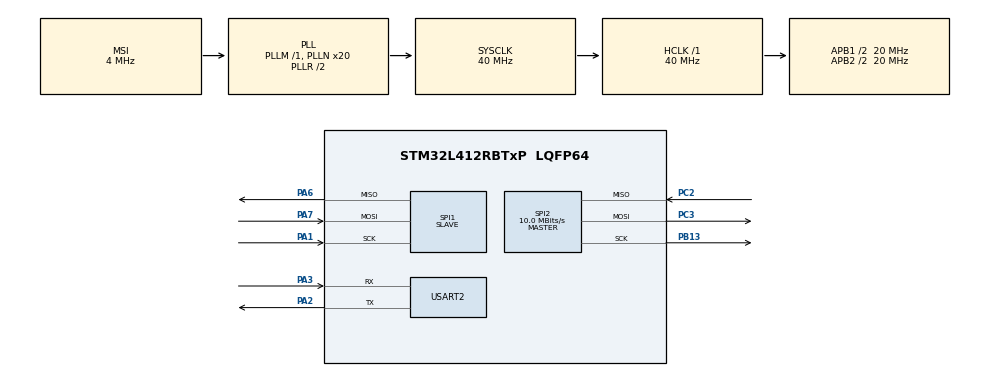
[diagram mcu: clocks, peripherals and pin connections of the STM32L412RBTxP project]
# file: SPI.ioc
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Mcu.Family=STM32L4
Mcu.Name=STM32L412RBTxP
Mcu.Package=LQFP64
NVIC.PriorityGroup=NVIC_PRIORITYGROUP_4
PA1.Mode=Full_Duplex_Slave
PA1.Signal=SPI1_SCK
PA2.Mode=Asynchronous
PA2.Signal=USART2_TX
PA3.Mode=Asynchronous
PA3.Signal=USART2_RX
PA6.Mode=Full_Duplex_Slave
PA6.Signal=SPI1_MISO
PA7.Mode=Full_Duplex_Slave
PA7.Signal=SPI1_MOSI
PB13.Mode=Full_Duplex_Master
PB13.Signal=SPI2_SCK
PC2.Mode=Full_Duplex_Master
PC2.Signal=SPI2_MISO
PC3.Mode=Full_Duplex_Master
PC3.Signal=SPI2_MOSI
ProjectManager.HeapSize=0x200
ProjectManager.StackSize=0x400
ProjectManager.TargetToolchain=STM32CubeIDE
RCC.ADCFreq_Value=40000000
RCC.AHBFreq_Value=40000000
RCC.APB1CLKDivider=RCC_HCLK_DIV2
RCC.APB1Freq_Value=20000000
RCC.APB1TimFreq_Value=40000000
RCC.APB2CLKDivider=RCC_HCLK_DIV2
RCC.APB2Freq_Value=20000000
RCC.APB2TimFreq_Value=40000000
RCC.CortexFreq_Value=40000000
RCC.HCLKFreq_Value=40000000
RCC.HSE_VALUE=8000000
RCC.HSI48_VALUE=48000000
RCC.HSI_VALUE=16000000
RCC.LSE_VALUE=32768
RCC.MSI_VALUE=4000000
RCC.PLLN=20
RCC.SYSCLKFreq_VALUE=40000000
RCC.SYSCLKSource=RCC_SYSCLKSOURCE_PLLCLK
RCC.USBFreq_Value=4000000
RCC.VCOOutputFreq_Value=80000000
SPI1.CLKPhase=SPI_PHASE_1EDGE
SPI1.DataSize=SPI_DATASIZE_8BIT
SPI1.Direction=SPI_DIRECTION_2LINES
SPI1.Mode=SPI_MODE_SLAVE
SPI1.VirtualType=VM_SLAVE
SPI2.BaudRatePrescaler=SPI_BAUDRATEPRESCALER_2
SPI2.CLKPhase=SPI_PHASE_1EDGE
SPI2.CalculateBaudRate=10.0 MBits/s
SPI2.DataSize=SPI_DATASIZE_8BIT
SPI2.Direction=SPI_DIRECTION_2LINES
SPI2.Mode=SPI_MODE_MASTER
SPI2.VirtualType=VM_MASTER
USART2.VirtualMode-Asynchronous=VM_ASYNC
board=custom

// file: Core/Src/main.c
/* USER CODE BEGIN Header */
/**
  ******************************************************************************
  * @file           : main.c
  * @brief          : Main program body
  ******************************************************************************
  * @attention
  *
  * <h2><center>&copy; Copyright (c) 2021 STMicroelectronics.
  * All rights reserved.</center></h2>
  *
  * This software component is licensed by ST under BSD 3-Clause license,
  * the "License"; You may not use this file except in compliance with the
  * License. You may obtain a copy of the License at:
  *                        opensource.org/licenses/BSD-3-Clause
  *
  ******************************************************************************
  */
/* USER CODE END Header */
#include "main.h"
#include "spi.h"
#include "usart.h"
#include "gpio.h"

/* USER CODE BEGIN Includes */
#include <stdio.h>

/* USER CODE END Includes */

/* USER CODE BEGIN PD */
#ifdef __GNUC__
    #define PUTCHAR_PROTOTYPE int __io_putchar(int ch)
#else
    #define PUTCHAR_PROTOTYPE int fputc(int ch, FILE *f)
#endif

PUTCHAR_PROTOTYPE
{
  HAL_UART_Transmit(&huart2, (uint8_t *)&ch, 1, 0xFFFF);
  return ch;
}
/* USER CODE END PD */

void SystemClock_Config(void);

int main(void)
{

  /* MCU Configuration--------------------------------------------------------*/

  /* Reset of all peripherals, Initializes the Flash interface and the Systick. */
  HAL_Init();

  /* Configure the system clock */
  SystemClock_Config();

  /* Initialize all configured peripherals */
  MX_GPIO_Init();
  MX_SPI2_Init();
  MX_USART2_UART_Init();
  MX_SPI1_Init();

  /* Infinite loop */
  /* USER CODE BEGIN WHILE */
  printf("new~ \r\n");
#if 0
  uint8_t Hi[] = "start\r\n";
  uint8_t * hi;
  hi = Hi;
  for (int j=0; j <sizeof(Hi)/sizeof(uint8_t); j++)
  {
    HAL_UART_Transmit(&huart2, hi, 1, 100);
    hi++;
  }
  while (1)
  {
    HAL_Delay(1000);

    uint8_t tx_buffer[] = { 'H', 'e', 'l', 'l', 'o', '\r', '\n' };
    uint8_t rx_buffer;
    for (int i = 0; i < sizeof(tx_buffer); i++) {
      HAL_SPI_TransmitReceive(&hspi2, tx_buffer + i, &rx_buffer, 1, 100);
      HAL_UART_Transmit(&huart2, &rx_buffer, 1, 100);
    }
#else

  uint8_t tx_buf[10] = {1,2,3,4,5,6,7,8,9,10};
  uint8_t rx_buf[10] = {0,0,0,0,0,0,0,0,0,0};
//  uint8_t rx_buf;

  while (1)
  {
    HAL_Delay(1000);

    for (int i=0; i<10;i++)
    {
      if (HAL_SPI_Receive(&hspi1, &rx_buf[i], 1, 100)==HAL_OK)
      {
        printf("Receive : %d ", rx_buf[i]);
      }
      if (HAL_SPI_Transmit(&hspi2, &tx_buf[i], 1, 100)==HAL_OK)
      {
        printf("Trans : %d ", tx_buf[i]);
      }
      printf("\r\n");
    }
//    for (int i=0; i<10;i++)
//    {
////      HAL_UART_Transmit(&huart2, &rx_buf[i], 1, 100);
//      printf("%d ", &rx_buf[i]);
//    }
    printf("\r\n");
#endif
    /* USER CODE END WHILE */

  }
}

void SystemClock_Config(void)
{
  RCC_OscInitTypeDef RCC_OscInitStruct = {0};
  RCC_ClkInitTypeDef RCC_ClkInitStruct = {0};
  RCC_PeriphCLKInitTypeDef PeriphClkInit = {0};

  /** Configure the main internal regulator output voltage
  */
  if (HAL_PWREx_ControlVoltageScaling(PWR_REGULATOR_VOLTAGE_SCALE1) != HAL_OK)
  {
    Error_Handler();
  }
  /** Initializes the RCC Oscillators according to the specified parameters
  * in the RCC_OscInitTypeDef structure.
  */
  RCC_OscInitStruct.OscillatorType = RCC_OSCILLATORTYPE_MSI;
  RCC_OscInitStruct.MSIState = RCC_MSI_ON;
  RCC_OscInitStruct.MSICalibrationValue = 0;
  RCC_OscInitStruct.MSIClockRange = RCC_MSIRANGE_6;
  RCC_OscInitStruct.PLL.PLLState = RCC_PLL_ON;
  RCC_OscInitStruct.PLL.PLLSource = RCC_PLLSOURCE_MSI;
  RCC_OscInitStruct.PLL.PLLM = 1;
  RCC_OscInitStruct.PLL.PLLN = 20;
  RCC_OscInitStruct.PLL.PLLQ = RCC_PLLQ_DIV2;
  RCC_OscInitStruct.PLL.PLLR = RCC_PLLR_DIV2;
  if (HAL_RCC_OscConfig(&RCC_OscInitStruct) != HAL_OK)
  {
    Error_Handler();
  }
  /** Initializes the CPU, AHB and APB buses clocks
  */
  RCC_ClkInitStruct.ClockType = RCC_CLOCKTYPE_HCLK|RCC_CLOCKTYPE_SYSCLK
                              |RCC_CLOCKTYPE_PCLK1|RCC_CLOCKTYPE_PCLK2;
  RCC_ClkInitStruct.SYSCLKSource = RCC_SYSCLKSOURCE_PLLCLK;
  RCC_ClkInitStruct.AHBCLKDivider = RCC_SYSCLK_DIV1;
  RCC_ClkInitStruct.APB1CLKDivider = RCC_HCLK_DIV2;
  RCC_ClkInitStruct.APB2CLKDivider = RCC_HCLK_DIV2;

  if (HAL_RCC_ClockConfig(&RCC_ClkInitStruct, FLASH_LATENCY_2) != HAL_OK)
  {
    Error_Handler();
  }
  PeriphClkInit.PeriphClockSelection = RCC_PERIPHCLK_USART2;
  PeriphClkInit.Usart2ClockSelection = RCC_USART2CLKSOURCE_PCLK1;
  if (HAL_RCCEx_PeriphCLKConfig(&PeriphClkInit) != HAL_OK)
  {
    Error_Handler();
  }
}

void Error_Handler(void)
{
  __disable_irq();
  while (1)
  {
  }
}

/************************ (C) COPYRIGHT STMicroelectronics *****END OF FILE****/
